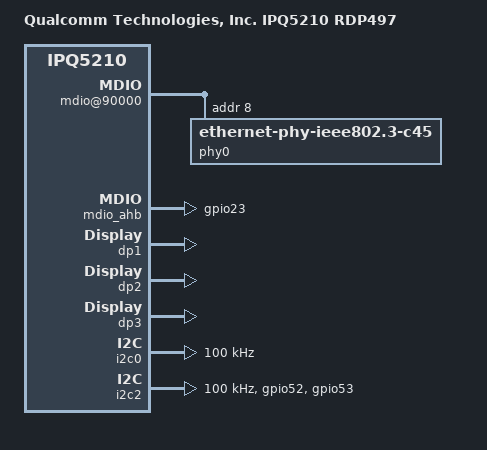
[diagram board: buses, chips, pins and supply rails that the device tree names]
// SPDX-License-Identifier: (GPL-2.0+ OR BSD-3-Clause)
/*
 * IPQ5210 RDP497 board device tree source
 *
 * Copyright (c) 2020-2021 The Linux Foundation. All rights reserved.
 * Copyright (c) Qualcomm Technologies, Inc. and/or its subsidiaries.
 */

/dts-v1/;

#include "ipq5210-rdp-common.dtsi"

/ {
	model = "Qualcomm Technologies, Inc. IPQ5210 RDP497";
	compatible = "qcom,ipq5210-rdp497", "qcom,ipq5210";

	aliases {
		serial0 = &uart1;
		ethernet0 = "/soc/dp1";
		ethernet1 = "/soc/dp2";
		ethernet2 = "/soc/dp3";
	};

	soc@0 {
		mdio@90000 {
			status = "okay";
			/* gpio reset for Laguna PHY */
			phy-reset-gpio = <&tlmm 24 GPIO_ACTIVE_LOW>;

			phy0: ethernet-phy@8 {
				reg = <8>;
				compatible ="ethernet-phy-ieee802.3-c45";
			};
		};

		mdio_ahb: mdio-ahb@1400000 {
			status = "okay";
			compatible = "qcom,mdio-ahb-ipq52xx";
			reg = <0x1400000 0x200000>;  /* Base address: 0x1400000, Size: 2MB */
			clocks = <&gcc GCC_MDIO_GEPHY_AHB_CLK>,
				<&gcc GCC_GEPHY_SYS_CLK>,
				<&nsscc NSS_CC_EPHY_RX_CLK>,
				<&nsscc NSS_CC_EPHY_TX_CLK>,
				<&cmn_pll IPQ5210_EPHY_RAW_CLK>;
			clock-names = "mdio_gephy_ahb_clk",
				"gephy_sys_clk",
				"gephy_rx_clk",
				"gephy_tx_clk",
				"gephy_raw_clk";

			resets = <&gcc GCC_GEPHY_SYS_ARES>,
				 <&nsscc NSS_CC_EPHY_RX_CLK_ARES>,
				 <&nsscc NSS_CC_EPHY_TX_CLK_ARES>;
			reset-names = "gephy_sys_reset",
				 "gephy_rx_reset",
				 "gephy_tx_reset";

			pinctrl-0 = <&phy_led0>;
			pinctrl-names = "default";
		};

		ess-instance {
			num_devices = <0x1>;

			ess_switch: ess-switch@3a000000 {
				switch_lan_bmp = <0x12>; /* lan port bitmap */
				switch_wan_bmp = <0x40>; /* wan port bitmap */
				switch_mac_mode = <0xd>; /* USXGMII for Laguna PHY */
				switch_mac_mode1 = <0xff>; /* unused */
				switch_mac_mode2 = <0xff>;
				tm_tick_mode = <1>; /* 3 X 10G TM mode */

				qcom,port_phyinfo {
					port@0 {
						port_id = <1>;
						phy_address = <8>;
						phy-handle = <&phy0>;
						phy-mode = "usxgmii";
						ethernet-phy-ieee802.3-c45;
					};
					port@3 {
						port_id = <4>;
						phy-mode = "internal";
					};
					port@5 {
						port_id = <6>;
						forced-speed = <10000>;
						forced-duplex = <1>;
						fixed-link {
							speed = <10000>;
							full-duplex;
							pause;
						};
					};
				};
			};
		};

		dp1 {
			device_type = "network";
			compatible = "qcom,nss-dp";
			qcom,id = <1>;
			reg = <0x3a500000 0x4000>;
			qcom,mactype = <1>;
			local-mac-address = [000000000000];
			qcom,ppe-offload-disabled = <0>;
			pinctrl-0 = <&pps_state>;
			pinctrl-names = "default";
			interrupts = <GIC_SPI 359 IRQ_TYPE_EDGE_RISING>;
			interrupt-names = "pps_in";
			clocks = <&nsscc NSS_CC_XGMAC0_PTP_REF_CLK>;
			clock-names = "ptp";
		};

		dp2 {
			device_type = "network";
			compatible = "qcom,nss-dp";
			qcom,id = <4>;
			reg = <0x3a001600 0x200>;
			qcom,mactype = <0>;
			local-mac-address = [000000000000];
			qcom,ppe-offload-disabled = <0>;
		};

		dp3 {
			device_type = "network";
			compatible = "qcom,nss-dp";
			qcom,id = <6>;
			reg = <0x3a508000 0x4000>;
			qcom,mactype = <1>;
			local-mac-address = [000000000000];
			qcom,ppe-offload-disabled = <0>;
			qcom,gem_port = <1>;
			clocks = <&nsscc NSS_CC_XGMAC2_PTP_REF_CLK>;
			clock-names = "ptp";
		};
	};
};

&i2c0 {
	clock-frequency = <100000>;

	status = "okay";
};

&i2c2 {
	pinctrl-0 = <&qup_i2c2_default>;
	pinctrl-names = "default";
	clock-frequency = <100000>;

	status = "okay";
};

&nsscc {
	assigned-clocks = <&nsscc NSS_CC_EPHY_RX_CLK_SRC>,
			  <&nsscc NSS_CC_EPHY_TX_CLK_SRC>;
	assigned-clock-parents = <&nsscc NSS_CC_PORT4_RX_DIV_CLK_SRC>,
				 <&nsscc NSS_CC_PORT4_TX_DIV_CLK_SRC>;
};

&spi1 {
	compatible = "qcom,geni-spi";
	pinctrl-0 = <&se4_spi_pins>;
	pinctrl-names = "default";
	status = "disabled";

	spidev1: spi@0 {
		compatible = "qti,spidev";
		reg = <0>;
		spi-max-frequency = <9600000>;
	};
};

&pcm {
	pinctrl-0 = <&audio_pins_pri>;
	pinctrl-1 = <&audio_pins_sec>;
	pinctrl-names = "primary",
			"secondary";
	status = "disabled";
};

&tlmm {
	audio_pins_pri: audio_pinmux_pri {
		mux_1 {
			pins = "gpio34";
			function = "audio_pri_d0";
			drive-strength = <16>;
			bias-pull-down;
		};

		mux_2 {
			pins = "gpio35";
			function = "audio_pri_d1";
			drive-strength = <8>;
			bias-pull-down;
		};

		mux_3 {
			pins = "gpio36";
			function = "audio_pri_fsync";
			drive-strength = <8>;
			bias-pull-down;
		};

		mux_4 {
			pins = "gpio37";
			function = "audio_pri_pclk";
			drive-strength = <8>;
			bias-pull-down;
		};
	};

	audio_pins_sec: audio_pinmux_sec {
		mux_1 {
			pins = "gpio43";
			function = "audio_sec_d0";
			drive-strength = <16>;
			bias-pull-down;
		};

		mux_2 {
			pins = "gpio42";
			function = "audio_sec_d1";
			drive-strength = <8>;
			bias-pull-down;
		};

		mux_3 {
			pins = "gpio40";
			function = "audio_sec_fsync";
			drive-strength = <8>;
			bias-pull-down;
		};

		mux_4 {
			pins = "gpio41";
			function = "audio_sec_pclk";
			drive-strength = <8>;
			bias-pull-down;
		};
	};

	qup_i2c2_default: qup-i2c2-default-state {
		qup_i2c2_scl {
			pins = "gpio52";
			function = "qup_se5_l01";
			drive-strength = <6>;
			bias-pull-up;
		};

		qup_i2c2_sda {
			pins = "gpio53";
			function = "qup_se5_l11";
			drive-strength = <6>;
			bias-pull-up;
		};
	};

	phy_led0: phy-led0-state {
		pins = "gpio23";
		function = "Led00";
		drive-strength = <2>;
		bias-pull-down;
	};

	mdio-state {
		mux_0 {
			drive-strength = <4>;
		};

		mux_1 {
			drive-strength = <4>;
		};
	};

	se4_spi_pins: se4-spi-pins {
		spi_clk {
			pins = "gpio40";
			function = "qup_se4_l2";
			drive-strength = <4>;
			bias-pull-down;
		};
		spi_cs {
			pins = "gpio41";
			function = "qup_se4_l3";
			drive-strength = <4>;
			bias-pull-up;
		};
		spi_miso {
			pins = "gpio42";
			function = "qup_se4_l0";
			drive-strength = <16>;
			bias-pull-down;
		};
		spi_mosi {
			pins = "gpio43";
			function = "qup_se4_l1";
			drive-strength = <16>;
			bias-pull-down;
		};
	};
};
